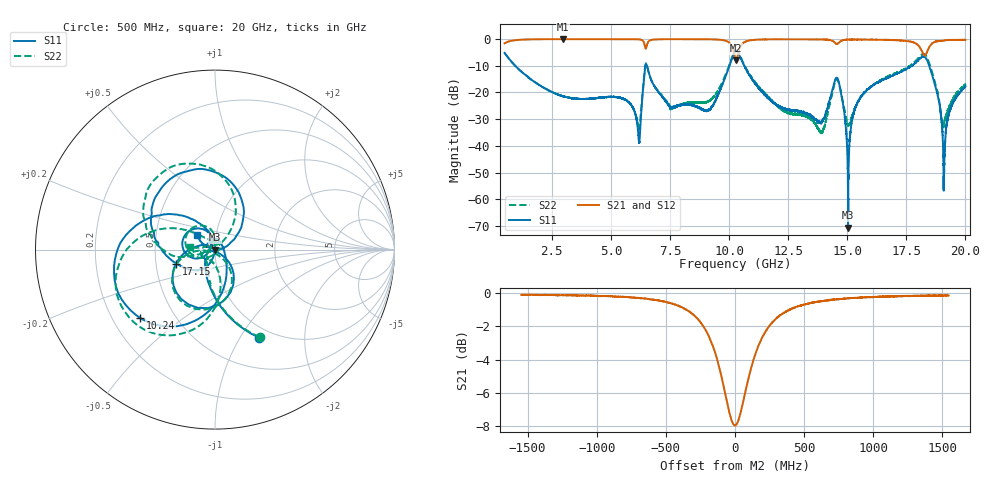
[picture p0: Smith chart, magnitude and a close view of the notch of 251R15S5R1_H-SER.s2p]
!{251R15S5R1}
!Johanson Technology Inc.
!www.johansontechnology.com
!Test Board Conditions:
!Substrate Type  RO4350B
!Substrate Thickness  20 mil
!Substrate Dk  3.66
!TL Type: GCPW
!TL Trace Width  34 mil
!TL Gap  10 mil
!Electrode orientation  Horizontal
!DUT TOPOLOGY	SERIES
!Mounting Pad LxW  26x52 mil
! Created Thu Mar 12 16:42:38 2020
# mhz S ma R 50
! 2 Port Network Data from SP1.SP block
! freq  magS11  angS11  magS21  angS21  magS12  angS12  magS22  angS22
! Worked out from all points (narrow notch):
!   19501 points, 500 MHz to 20 GHz, reference 50 ohm
!   highest |S21| = -0.04 dB at 2.972 GHz (marker M1); lowest = -8.0 dB at 10.29 GHz (marker M2)
!   notch at M2: 7.8 dB deep, 258 MHz wide at half that depth
!   lowest |S11| = -70.6 dB at 15.04 GHz (marker M3), VSWR 1.00, Z = 50 - j0.0116 ohm
!   |S11| at or under -10 dB: 946.1 MHz to 6.458 GHz (5.512 GHz wide, 149 % of centre); 6.525 GHz to 10.02 GHz (3.492 GHz wide, 42.2 % of centre); 10.64 GHz to 17.72 GHz (7.082 GHz wide, 49.9 % of centre) (the widest 3 of 5)
!   |S22| runs from -35.3 to -4.3 dB; largest |S21 - S12| = 0.016
!   S11 on the Smith chart (normalised r, x): 500 MHz: 0.87, -1.21; 10.24 GHz: 0.32, -0.35; 17.15 GHz: 0.64, -0.11; 20 GHz: 0.81, +0.14
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500  0.5484 -63.3  0.8319 26.6  0.8333 26.6  0.5468 -63.0
2972  0.08454 -130.5  0.9957 -36.8  0.9947 -36.8  0.08495 -122.1
3750  0.07526 -137.8  0.9933 -49.5  0.9937 -49.5  0.07532 -138.9
5598  0.07322 -163.0  0.9919 -79.1  0.9928 -79.0  0.07293 -171.0
6170  0.01424 -141.1  0.9824 -90.7  0.983 -90.7  0.02128 -123.8
6487  0.3401 -111.4  0.6709 -87.2  0.6708 -87.1  0.3504 -112.9
7000  0.1034 169.8  0.9847 -96.1  0.9856 -96.1  0.1051 -175.5
9131  0.04631 8.5  0.9873 -133.9  0.9864 -133.8  0.06761 -105.3
10240  0.5641 -137.5  0.4627 -164.5  0.4648 -164.7  0.5858 -128.4
10250  0.5712 -140.3  0.4439 -162.1  0.445 -162.3  0.5935 -131.0
10295  0.5901 -153.5  0.3989 -146.6  0.4005 -146.7  0.6105 -143.4
10666  0.2993 139.1  0.8817 -134.9  0.883 -135.2  0.3117 158.2
13500  0.03467 128.6  0.9865 166.9  0.9855 167.0  0.03074 24.5
13957  0.02991 -178.6  0.9784 158.8  0.9822 158.6  0.01833 -63.6
14575  0.1858 153.6  0.8072 152.3  0.8052 152.2  0.178 142.4
15036  0.0002935 -156.8  0.9717 146.3  0.9721 146.2  0.0243 133.8
15498  0.07223 -108.9  0.976 136.9  0.9767 137.2  0.07171 -163.1
16750  0.1938 -147.1  0.9626 114.3  0.959 113.9  0.2021 -167.7
17147  0.2302 -160.1  0.9482 106.3  0.9424 106.1  0.2394 -171.7
18348  0.4242 87.2  0.5341 107.8  0.5316 108.2  0.4718 97.6
19103  0.004128 148.2  0.9403 90.3  0.9366 90.4  0.02767 128.0
20000  0.1292 140.3  0.9644 70.2  0.9616 70.2  0.1409 174.2
